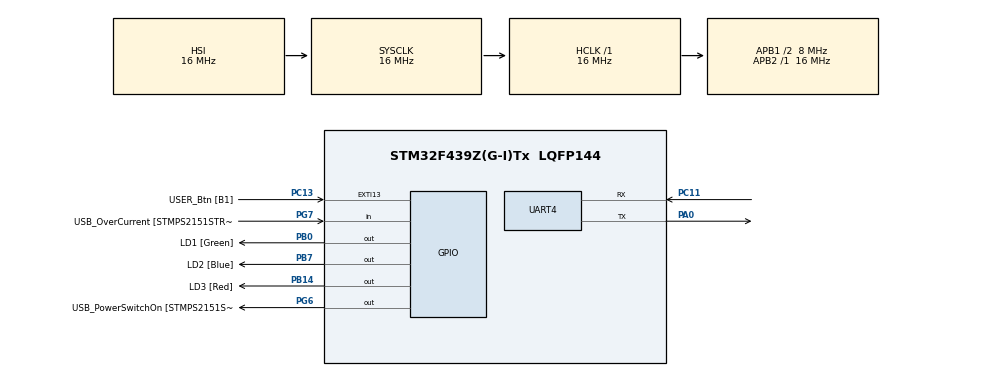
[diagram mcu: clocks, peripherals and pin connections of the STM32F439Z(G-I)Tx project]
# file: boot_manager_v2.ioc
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Mcu.Family=STM32F4
Mcu.Name=STM32F439Z(G-I)Tx
Mcu.Package=LQFP144
NVIC.PriorityGroup=NVIC_PRIORITYGROUP_4
PA0/WKUP.Mode=Asynchronous
PA0/WKUP.Signal=UART4_TX
PA1.GPIO_Label=RMII_REF_CLK [LAN8742A-CZ-TR_REFCLK0]
PA1.Signal=ETH_REF_CLK
PA10.GPIO_Label=USB_ID
PA10.Signal=USB_OTG_FS_ID
PA11.GPIO_Label=USB_DM
PA11.Signal=USB_OTG_FS_DM
PA12.GPIO_Label=USB_DP
PA12.Signal=USB_OTG_FS_DP
PA13.GPIO_Label=TMS
PA13.Signal=SYS_JTMS-SWDIO
PA14.GPIO_Label=TCK
PA14.Signal=SYS_JTCK-SWCLK
PA2.GPIO_Label=RMII_MDIO [LAN8742A-CZ-TR_MDIO]
PA2.Signal=ETH_MDIO
PA7.GPIO_Label=RMII_CRS_DV [LAN8742A-CZ-TR_CRS_DV]
PA7.Signal=ETH_CRS_DV
PA8.GPIO_Label=USB_SOF [TP1]
PA8.Signal=USB_OTG_FS_SOF
PA9.GPIO_Label=USB_VBUS
PA9.Signal=USB_OTG_FS_VBUS
PB0.GPIO_Label=LD1 [Green]
PB0.Signal=GPIO_Output
PB13.GPIO_Label=RMII_TXD1 [LAN8742A-CZ-TR_TXD1]
PB13.Signal=ETH_TXD1
PB14.GPIO_Label=LD3 [Red]
PB14.Signal=GPIO_Output
PB7.GPIO_Label=LD2 [Blue]
PB7.Signal=GPIO_Output
PC1.GPIO_Label=RMII_MDC [LAN8742A-CZ-TR_MDC]
PC1.Signal=ETH_MDC
PC11.Mode=Asynchronous
PC11.Signal=UART4_RX
PC13.GPIO_Label=USER_Btn [B1]
PC13.Signal=GPXTI13
PC14/OSC32_IN.Signal=RCC_OSC32_IN
PC15/OSC32_OUT.Signal=RCC_OSC32_OUT
PC4.GPIO_Label=RMII_RXD0 [LAN8742A-CZ-TR_RXD0]
PC4.Signal=ETH_RXD0
PC5.GPIO_Label=RMII_RXD1 [LAN8742A-CZ-TR_RXD1]
PC5.Signal=ETH_RXD1
PD8.GPIO_Label=STLK_RX [STM32F103CBT6_PA3]
PD8.Signal=USART3_TX
PD9.GPIO_Label=STLK_TX [STM32F103CBT6_PA2]
PD9.Signal=USART3_RX
PG11.GPIO_Label=RMII_TX_EN [LAN8742A-CZ-TR_TXEN]
PG11.Signal=ETH_TX_EN
PG13.GPIO_Label=RMII_TXD0 [LAN8742A-CZ-TR_TXD0]
PG13.Signal=ETH_TXD0
PG6.GPIO_Label=USB_PowerSwitchOn [STMPS2151STR_EN]
PG6.Signal=GPIO_Output
PG7.GPIO_Label=USB_OverCurrent [STMPS2151STR_FAULT]
PG7.Signal=GPIO_Input
PH0/OSC_IN.GPIO_Label=MCO [STM32F103CBT6_PA8]
PH0/OSC_IN.Signal=RCC_OSC_IN
PH1/OSC_OUT.Signal=RCC_OSC_OUT
ProjectManager.HeapSize=0x200
ProjectManager.StackSize=0x400
ProjectManager.TargetToolchain=STM32CubeIDE
RCC.48MHZClocksFreq_Value=48000000
RCC.AHBFreq_Value=16000000
RCC.APB1CLKDivider=RCC_HCLK_DIV2
RCC.APB1Freq_Value=8000000
RCC.APB1TimFreq_Value=16000000
RCC.APB2Freq_Value=16000000
RCC.APB2TimFreq_Value=16000000
RCC.CortexFreq_Value=16000000
RCC.HCLKFreq_Value=16000000
RCC.HSE_VALUE=8000000
RCC.HSI_VALUE=16000000
RCC.LSE_VALUE=32768
RCC.PLLMUL=RCC_PLL_MUL9
RCC.PRESCALERUSB=RCC_USBCLKSOURCE_PLL_DIV1_5
RCC.SYSCLKFreq_VALUE=16000000
RCC.SYSCLKSourceVirtual=RCC_SYSCLKSOURCE_PLLCLK
RCC.USBFreq_Value=48000000
RCC.VCOOutputFreq_Value=192000000
UART4.VirtualMode=Asynchronous
VP_IWDG_VS_IWDG.Mode=IWDG_Activate
VP_RNG_VS_RNG.Mode=RNG_Activate
VP_RTC_VS_RTC_Activate.Mode=RTC_Enabled
VP_wolfSSL.I-CUBE-wolfSSL_VS_wolfSSLJjwolfSSL_5.5.4_5.5.4.Mode=wolfSSLJjwolfSSL
board=NUCLEO-F439ZI
wolfSSL.I-CUBE-wolfSSL.5.5.4.WOLF_CONF_AESGCM=0
wolfSSL.I-CUBE-wolfSSL.5.5.4.WOLF_CONF_DH=0
wolfSSL.I-CUBE-wolfSSL.5.5.4.WOLF_CONF_OPENSSL_EXTRA=2
wolfSSL.I-CUBE-wolfSSL.5.5.4.WOLF_CONF_TLS12=0
wolfSSL.I-CUBE-wolfSSL.5.5.4.wolfSSLCcwolfSSLJjwolfCryptJjCore=true
wolfSSL.I-CUBE-wolfSSL.5.5.4.wolfSSLCcwolfSSLJjwolfCryptJjTest=true
wolfSSL.I-CUBE-wolfSSL.5.5.4.wolfSSLCcwolfSSLJjwolfSSLJjCore=true

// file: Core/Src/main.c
/* USER CODE BEGIN Header */
/**
 ******************************************************************************
 * @file           : main.c
 * @brief          : Main program body
 ******************************************************************************
 * @attention
 *
 * Copyright (c) 2023 STMicroelectronics.
 * All rights reserved.
 *
 * This software is licensed under terms that can be found in the LICENSE file
 * in the root directory of this software component.
 * If no LICENSE file comes with this software, it is provided AS-IS.
 *
 ******************************************************************************
 */
/* USER CODE END Header */
#include "main.h"
#include "iwdg.h"
#include "rng.h"
#include "rtc.h"
#include "usart.h"
#include "gpio.h"

/* USER CODE BEGIN Includes */
#include "boot_manager.h"
/* USER CODE END Includes */

void SystemClock_Config(void);

int main(void)
{

	/* MCU Configuration--------------------------------------------------------*/

	/* Reset of all peripherals, Initializes the Flash interface and the Systick. */
	HAL_Init();

	/* Configure the system clock */
	SystemClock_Config();

	MX_RTC_Init();

	/* USER CODE BEGIN SysInit */

	uint8_t Application_selector = read_backup_reg(4);

	uint8_t Attempt_counter = read_backup_reg(0);
	Attempt_counter++;
	write_backup_reg(0, Attempt_counter);
	if(Attempt_counter > 3){
		write_backup_reg(0, 0);
		//toggle RTC register 4
		write_backup_reg(4, !Application_selector);
		//restart
		bootloader_reboot();

	}else{
		//continue in the main function
	}

	/* USER CODE END SysInit */

	/* Initialize all configured peripherals */
	MX_GPIO_Init();
	MX_RNG_Init();
	MX_UART4_Init();
	// MX_IWDG_Init();

	/* USER CODE BEGIN 2 */

	//
	//	int ret =FAILED;
	//	int ret =SUCCEEDED;
	int ret = secure_boot_verify(Application_selector);
	if(ret == SUCCEEDED){
		//jump to application

	}else{
		// printf("%d\n",Attempt_counter);
	}

	uint32_t applicationExtensionAddress;
	if(Application_selector == 0){
		applicationExtensionAddress=APPLICATION_EXENSIONS_ADDRESS_B1;
	}
	else{
		applicationExtensionAddress=APPLICATION_EXENSIONS_ADDRESS_B2;
	}
	uint32_t MAIN_APPLICATION_START_ADDRESS  = applicationExtensionAddress + MAIN_APPLICATION_START_ADDRESS_OFFSET;   //128k byte offset from Application_extensions_Address

	jump_to_application(MAIN_APPLICATION_START_ADDRESS);

	/* USER CODE END 2 */

	/* Infinite loop */
	while (1)
	{

	}
}

void SystemClock_Config(void)
{
	RCC_OscInitTypeDef RCC_OscInitStruct = {0};
	RCC_ClkInitTypeDef RCC_ClkInitStruct = {0};

	/** Configure the main internal regulator output voltage
	 */
	__HAL_RCC_PWR_CLK_ENABLE();
	__HAL_PWR_VOLTAGESCALING_CONFIG(PWR_REGULATOR_VOLTAGE_SCALE3);

	/** Initializes the RCC Oscillators according to the specified parameters
	 * in the RCC_OscInitTypeDef structure.
	 */
	RCC_OscInitStruct.OscillatorType = RCC_OSCILLATORTYPE_HSI|RCC_OSCILLATORTYPE_LSI;
	RCC_OscInitStruct.HSIState = RCC_HSI_ON;
	RCC_OscInitStruct.HSICalibrationValue = RCC_HSICALIBRATION_DEFAULT;
	RCC_OscInitStruct.LSIState = RCC_LSI_ON;
	RCC_OscInitStruct.PLL.PLLState = RCC_PLL_ON;
	RCC_OscInitStruct.PLL.PLLSource = RCC_PLLSOURCE_HSI;
	RCC_OscInitStruct.PLL.PLLM = 16;
	RCC_OscInitStruct.PLL.PLLN = 192;
	RCC_OscInitStruct.PLL.PLLP = RCC_PLLP_DIV2;
	RCC_OscInitStruct.PLL.PLLQ = 4;
	if (HAL_RCC_OscConfig(&RCC_OscInitStruct) != HAL_OK)
	{
		Error_Handler();
	}

	/** Initializes the CPU, AHB and APB buses clocks
	 */
	RCC_ClkInitStruct.ClockType = RCC_CLOCKTYPE_HCLK|RCC_CLOCKTYPE_SYSCLK
			|RCC_CLOCKTYPE_PCLK1|RCC_CLOCKTYPE_PCLK2;
	RCC_ClkInitStruct.SYSCLKSource = RCC_SYSCLKSOURCE_HSI;
	RCC_ClkInitStruct.AHBCLKDivider = RCC_SYSCLK_DIV1;
	RCC_ClkInitStruct.APB1CLKDivider = RCC_HCLK_DIV2;
	RCC_ClkInitStruct.APB2CLKDivider = RCC_HCLK_DIV1;

	if (HAL_RCC_ClockConfig(&RCC_ClkInitStruct, FLASH_LATENCY_0) != HAL_OK)
	{
		Error_Handler();
	}
}

void Error_Handler(void)
{
	__disable_irq();
	while (1)
	{
	}
}
